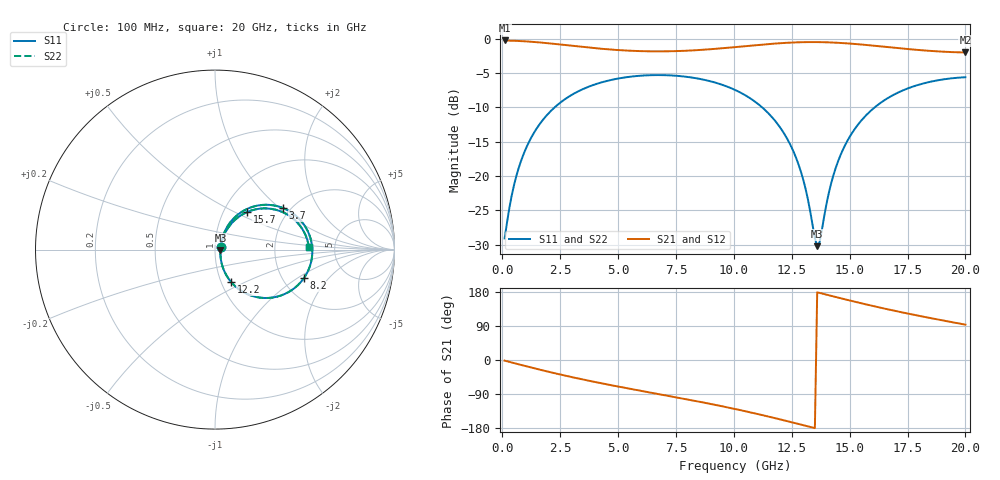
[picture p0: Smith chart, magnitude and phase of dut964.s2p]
! Touchstone file exported from HFSS 2026.1.0
!  File:  C:/ffzhzh/LocalFiles/Ansys_Project_Files/temp_train_TSV_RDL_964_1783284751_38820.aedt
!  Generated:  05:06:15 AM Jul  6, 2026
!  Design:  TSV_RDL
!  Project:  temp_train_TSV_RDL_964_1783284751_38820
! Variables:
!  h_bsmrdl = 5.41um
!  h_ox = 20um
!  h_rdl = 5um
!  h_sub = 95.18um
!  h_tmrdl = 4.62um
!  h_tsv = 95.18um
!  h_via = 3um
!  l_bsmrdl = 594.89um
!  l_sub = 4357.97um
!  l_tmrdl = 514.15um
!  m_sub = 200um
!  pitch = 42.25um
!  r_tsv = 2um
!  s_tmrdl = 10um
!  w_bsmrdl = 17.75um
!  w_sub = 500um
!  w_tmrdl = 21.15um
!  x_tsv_center1 = 524.725um
!  x_tsv_center2 = 1137.365um
!  x_tsv_center3 = 1672.665um
!  x_tsv_center4 = 2285.305um
!  x_tsv_center5 = 2820.605um
!  x_tsv_center6 = 3433.245um
# GHz S MA R 50.000000
! Terminal data exported
! Port[1] = TM_RDL1_1_T1
! Port[2] = TM_RDL5_1_T1
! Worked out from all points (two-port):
!   200 points, 100 MHz to 20 GHz, reference 50 ohm
!   highest |S21| = -0.27 dB at 100 MHz (marker M1); lowest = -2.0 dB at 20 GHz (marker M2)
!   |S21| within 3 dB of the highest: start of sweep to end of sweep
!   lowest |S11| = -30.2 dB at 13.6 GHz (marker M3), VSWR 1.06, Z = 53.1 - j0.484 ohm
!   |S11| at or under -10 dB: start of sweep to 2.266 GHz; 11.22 GHz to 16.09 GHz (4.87 GHz wide, 35.7 % of centre)
!   |S22| runs from -30.2 to -5.3 dB; largest |S21 - S12| = 1.7e-14
!   S11 on the Smith chart (normalised r, x): 100 MHz: 1.06, +0.03; 3.7 GHz: 1.83, +1.06; 8.2 GHz: 2.60, -1.14; 12.2 GHz: 1.11, -0.42; 15.7 GHz: 1.29, +0.58; 20 GHz: 3.19, +0.12
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0.1  0.03509 26.5  0.9689 -1.7  0.9689 -1.7  0.03509 26.5
! Gamma 0 0 0 0
! Port Impedance 50 0 50 0
0.6  0.09895 60.7  0.9624 -9.7  0.9624 -9.7  0.09895 60.7
1.2  0.1833 60.3  0.9496 -19.1  0.9496 -19.1  0.1833 60.3
2.2  0.309 49.6  0.9167 -34.0  0.9167 -34.0  0.309 49.6
3.5  0.43 33.8  0.868 -51.7  0.868 -51.7  0.43 33.8
3.7  0.4443 31.4  0.8611 -54.2  0.8611 -54.2  0.4443 31.4
5.3  0.5217 13.3  0.8192 -73.5  0.8192 -73.5  0.5217 13.3
6.8  0.5424 -2.7  0.8068 -90.5  0.8068 -90.5  0.5424 -2.7
8.2  0.5201 -17.8  0.8198 -106.5  0.8198 -106.5  0.5201 -17.8
10.1  0.4192 -39.5  0.8684 -129.9  0.8684 -129.9  0.4192 -39.5
11.3  0.3074 -53.9  0.9066 -146.4  0.9066 -146.4  0.3073 -53.9
12.2  0.1999 -63.7  0.93 -159.7  0.93 -159.7  0.1999 -63.7
12.9  0.107 -66.2  0.9407 -170.5  0.9407 -170.5  0.107 -66.2
13.4  0.04392 -46.1  0.9431 -178.3  0.9431 -178.3  0.04392 -46.0
13.6  0.03084 -8.5  0.9427 178.6  0.9427 178.6  0.03086 -8.4
13.7  0.03285 15.8  0.9422 177.0  0.9422 177.0  0.03288 15.8
14.2  0.08808 57.1  0.937 169.3  0.937 169.3  0.08811 57.1
14.5  0.1277 59.1  0.9318 164.7  0.9318 164.7  0.1277 59.1
15.7  0.2752 49.5  0.8992 146.9  0.8992 146.9  0.2753 49.4
16.7  0.3732 37.9  0.8653 133.1  0.8653 133.1  0.3732 37.8
18.2  0.4722 20.8  0.82 114.1  0.82 114.1  0.4722 20.7
20  0.5232 1.5  0.7919 93.3  0.7919 93.3  0.5232 1.4
